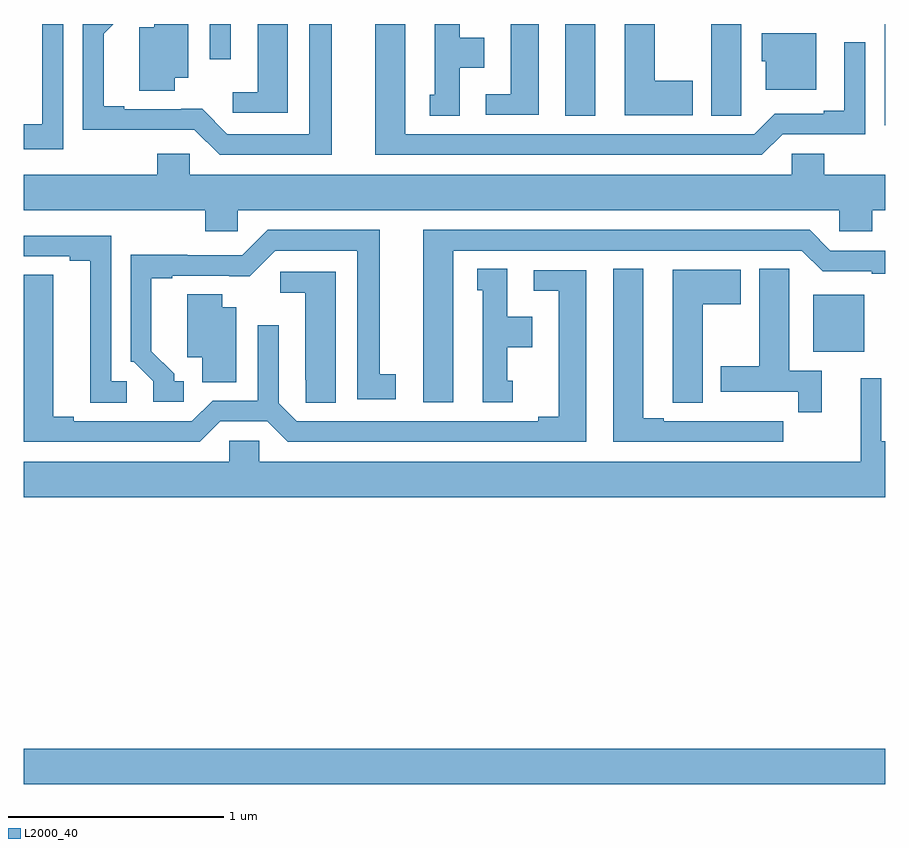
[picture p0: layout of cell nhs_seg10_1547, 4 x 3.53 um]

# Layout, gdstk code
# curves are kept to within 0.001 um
import gdstk
lib = gdstk.Library(unit=1e-6, precision=1e-09)
def R(c, l, rs):  # rectangles x0, y0, x1, y1
    for r in rs: c.add(gdstk.rectangle(r[:2], r[2:], *l))
def P(c, l, *ps):  # polygons
    for p in ps: c.add(gdstk.Polygon(p, *l))
L2000_40 = (2000, 40)

nhs_seg10_1547 = lib.new_cell('nhs_seg10_1547')
R(nhs_seg10_1547, L2000_40, [(191,1310.972,195,1311.136), (194.666,1312.979,194.902,1313.242), (194.997,1314.03,195,1314.5), (193.514,1314.073,193.654,1314.5), (191.865,1314.336,191.961,1314.5)])
P(nhs_seg10_1547, L2000_40, [(194.107,1314.237),(193.93,1314.237),(193.93,1314.5),(193.79,1314.5),(193.79,1314.077),(194.107,1314.077)],
  [(193.39,1314.5),(193.262,1314.5),(193.262,1314.174),(193.146,1314.174),(193.146,1314.078),(193.39,1314.078)],
  [(194.331,1314.184),(194.332,1314.184),(194.332,1314.5),(194.192,1314.5),(194.192,1314.073),(194.331,1314.073)],
  [(192.226,1314.5),(192.086,1314.5),(192.086,1314.184),(191.97,1314.184),(191.97,1314.087),(192.226,1314.087)],
  [(193.024,1314.296),(193.138,1314.296),(193.138,1314.436),(193.024,1314.436),(193.024,1314.5),(192.908,1314.5),(192.908,1314.171),(192.884,1314.171),(192.884,1314.073),(193.024,1314.073)],
  [(191.701,1314.251),(191.764,1314.251),(191.764,1314.5),(191.606,1314.5),(191.606,1314.484),(191.537,1314.484),(191.537,1314.19),(191.701,1314.19)],
  [(192.43,1314.5),(192.326,1314.5),(192.326,1313.988),(191.946,1313.988),(191.828,1314.106),(191.467,1314.105),(191.467,1314.118),(191.371,1314.118),(191.371,1314.454),(191.417,1314.5),(191.274,1314.5),(191.274,1314.008),(191.793,1314.009),(191.91,1313.892),(192.43,1313.892)],
  [(194.523,1313.988),(194.907,1313.988),(194.907,1314.415),(194.81,1314.415),(194.81,1314.097),(194.714,1314.097),(194.714,1314.084),(194.487,1314.084),(194.391,1313.988),(192.772,1313.988),(192.772,1314.5),(192.632,1314.5),(192.632,1313.892),(194.427,1313.892)],
  [(191.184,1314.5),(191.087,1314.5),(191.087,1314.035),(191,1314.035),(191,1313.919),(191.184,1313.919)],
  [(194.68,1314.457),(194.426,1314.457),(194.426,1314.327),(194.444,1314.327),(194.444,1314.194),(194.68,1314.194)],
  [(191.994,1313.636),(194.787,1313.636),(194.787,1313.538),(194.939,1313.538),(194.939,1313.636),(195,1313.636),(195,1313.8),(194.717,1313.8),(194.717,1313.898),(194.565,1313.898),(194.565,1313.8),(191.772,1313.8),(191.772,1313.898),(191.621,1313.898),(191.621,1313.8),(191,1313.8),(191,1313.636),(191.843,1313.636),(191.843,1313.538),(191.994,1313.538)],
  [(191.743,1312.842),(191.698,1312.842),(191.698,1312.877),(191.593,1312.982),(191.593,1313.319),(191.689,1313.319),(191.689,1313.331),(192.05,1313.33),(192.168,1313.448),(192.548,1313.448),(192.548,1312.758),(192.727,1312.758),(192.727,1312.874),(192.652,1312.874),(192.652,1313.544),(192.132,1313.544),(192.015,1313.427),(191.759,1313.427),(191.759,1313.429),(191.496,1313.429),(191.496,1312.932),(191.511,1312.932),(191.601,1312.842),(191.601,1312.746),(191.743,1312.746)],
  [(192.994,1313.448),(194.613,1313.448),(194.709,1313.352),(194.936,1313.352),(194.936,1313.34),(195,1313.34),(195,1313.448),(194.745,1313.448),(194.649,1313.544),(192.854,1313.544),(192.854,1312.743),(192.994,1312.743)],
  [(191.479,1312.842),(191.406,1312.842),(191.406,1313.517),(191,1313.517),(191,1313.421),(191.213,1313.421),(191.213,1313.401),(191.309,1313.401),(191.309,1312.741),(191.479,1312.741)],
  [(194.705,1312.89),(194.554,1312.89),(194.554,1313.252),(194.553,1313.252),(194.553,1313.363),(194.414,1313.363),(194.414,1312.911),(194.237,1312.911),(194.237,1312.794),(194.596,1312.794),(194.596,1312.698),(194.705,1312.698)],
  [(194.527,1312.656),(194.414,1312.656),(194.414,1312.657),(194.248,1312.657),(194.248,1312.656),(193.972,1312.656),(193.972,1312.671),(193.876,1312.671),(193.876,1313.363),(193.736,1313.363),(193.736,1312.56),(194.527,1312.56)],
  [(193.27,1312.845),(193.246,1312.845),(193.246,1313),(193.36,1313),(193.36,1313.14),(193.246,1313.14),(193.246,1313.363),(193.106,1313.363),(193.106,1313.265),(193.13,1313.265),(193.13,1312.743),(193.27,1312.743)],
  [(194.152,1313.2),(194.329,1313.2),(194.329,1313.359),(194.012,1313.359),(194.012,1312.849),(194.013,1312.849),(194.013,1312.741),(194.152,1312.741)],
  [(191.913,1312.656),(192.131,1312.656),(192.227,1312.56),(193.612,1312.56),(193.612,1313.358),(193.368,1313.358),(193.368,1313.262),(193.484,1313.262),(193.484,1312.676),(193.388,1312.676),(193.388,1312.656),(192.267,1312.656),(192.183,1312.74),(192.183,1313.101),(192.087,1313.101),(192.087,1312.752),(191.877,1312.752),(191.781,1312.656),(191.233,1312.656),(191.233,1312.676),(191.137,1312.676),(191.137,1313.336),(191,1313.336),(191,1312.56),(191.817,1312.56)],
  [(192.448,1313.349),(192.192,1313.349),(192.192,1313.252),(192.308,1313.252),(192.308,1312.849),(192.309,1312.849),(192.309,1312.741),(192.448,1312.741)],
  [(191.986,1313.185),(191.923,1313.185),(191.923,1313.246),(191.759,1313.246),(191.759,1312.952),(191.828,1312.952),(191.828,1312.837),(191.986,1312.837)],
  [(195,1312.564),(194.982,1312.564),(194.982,1312.855),(194.885,1312.855),(194.885,1312.468),(192.093,1312.468),(192.093,1312.566),(191.955,1312.566),(191.955,1312.468),(191,1312.468),(191,1312.304),(195,1312.304)])

lib.write_gds('nhs_seg10_1547.gds')
